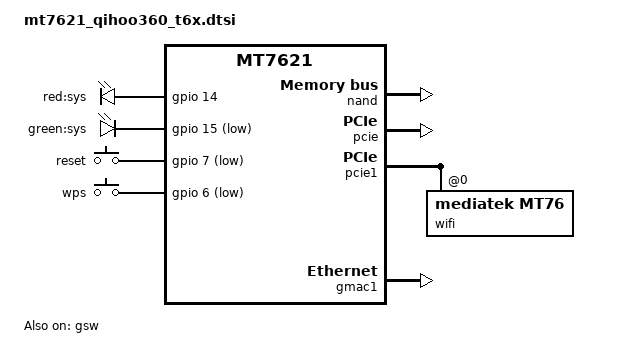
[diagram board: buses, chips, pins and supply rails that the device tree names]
// SPDX-License-Identifier: GPL-2.0-or-later OR MIT

#include "mt7621.dtsi"

#include <dt-bindings/gpio/gpio.h>
#include <dt-bindings/input/input.h>

/ {
	aliases {
		led-boot = &led_sys_red;
		led-failsafe = &led_sys_red;
		led-running = &led_sys_blue;
		led-upgrade = &led_sys_blue;
		label-mac-device = &gmac0;
	};

	chosen {
		bootargs = "console=ttyS0,115200";
		bootargs-override = "console=ttyS0,115200";
	};

	leds {
		compatible = "gpio-leds";

		led_sys_red: red {
			label = "red:sys";
			gpios = <&gpio 14 GPIO_ACTIVE_HIGH>;
		};

		led_sys_blue: blue {
			label = "green:sys";
			gpios = <&gpio 15 GPIO_ACTIVE_LOW>;
		};
	};

	keys {
		compatible = "gpio-keys";

		reset {
			label = "reset";
			gpios = <&gpio 7 GPIO_ACTIVE_LOW>;
			linux,code = <KEY_RESTART>;
		};

		wps {
			label = "wps";
			gpios = <&gpio 6 GPIO_ACTIVE_LOW>;
			linux,code = <KEY_WPS_BUTTON>;
		};
	};
};

&nand {
	status = "okay";

	mediatek,nmbm;
	mediatek,bmt-max-ratio = <1>;
	mediatek,bmt-max-reserved-blocks = <64>;
	mediatek,bmt-remap-range = <0x0000000 0x0a00000>;

	partitions {
		compatible = "fixed-partitions";
		#address-cells = <1>;
		#size-cells = <1>;

		partition@0 {
			label = "Bootloader";
			reg = <0x0000000 0x0080000>;
			read-only;
		};

		partition@80000 {
			label = "Config";
			reg = <0x0080000 0x0080000>;
		};

		factory: partition@100000 {
			label = "Factory";
			reg = <0x0100000 0x0080000>;
			read-only;
		};

		partition@180000 {
			label = "kernel";
			reg = <0x180000 0x800000>;
		};

		partition@980000 {
			label = "ubi";
			reg = <0x980000 0x6e80000>;
		};
	};
};

&pcie {
	status = "okay";
};

&pcie1 {
	wifi@0,0 {
		compatible = "mediatek,mt76";
		reg = <0x0000 0 0 0 0>;
		mediatek,mtd-eeprom = <&factory 0x0>;
	};
};

&gmac0 {
	mtd-mac-address = <&factory 0x3fff4>;
};

&gmac1 {
	mtd-mac-address = <&factory 0x3fffa>;
	status = "okay";
};

&gsw {
	mediatek,portmap = "llllw";
	status = "okay";
};

&hnat {
	mtketh-wan = "eth1";
	mtketh-ppd = "eth0";
	mtketh-lan = "eth0";
	mtketh-max-gmac = <2>;
	/delete-property/ mtkdsa-wan-port;
};

&switch0 {
	status = "disabled";
};

&state_default {
	gpio {
		groups = "jtag", "wdt";
		function = "gpio";
	};
};
